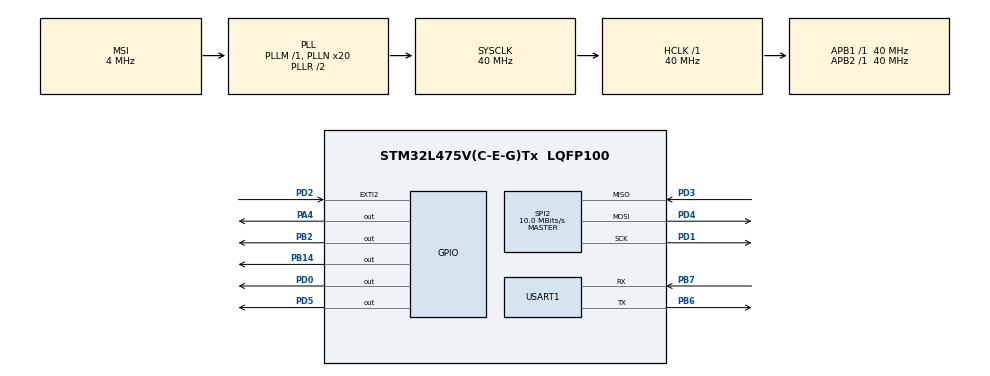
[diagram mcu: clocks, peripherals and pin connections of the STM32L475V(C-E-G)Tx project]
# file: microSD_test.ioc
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FATFS._MAX_SS=4096
Mcu.Family=STM32L4
Mcu.Name=STM32L475V(C-E-G)Tx
Mcu.Package=LQFP100
NVIC.PriorityGroup=NVIC_PRIORITYGROUP_4
NVIC.TIM3_IRQn=true\:0\:0\:false\:false\:true\:true\:true
PA13\ (JTMS-SWDIO).Mode=Serial_Wire
PA13\ (JTMS-SWDIO).Signal=SYS_JTMS-SWDIO
PA14\ (JTCK-SWCLK).Mode=Serial_Wire
PA14\ (JTCK-SWCLK).Signal=SYS_JTCK-SWCLK
PA4.Signal=GPIO_Output
PB14.Signal=GPIO_Output
PB2.Signal=GPIO_Output
PB6.Mode=Asynchronous
PB6.Signal=USART1_TX
PB7.Mode=Asynchronous
PB7.Signal=USART1_RX
PC14-OSC32_IN\ (PC14).Mode=LSE-External-Oscillator
PC14-OSC32_IN\ (PC14).Signal=RCC_OSC32_IN
PC15-OSC32_OUT\ (PC15).Mode=LSE-External-Oscillator
PC15-OSC32_OUT\ (PC15).Signal=RCC_OSC32_OUT
PD0.Signal=GPIO_Output
PD1.Mode=Full_Duplex_Master
PD1.Signal=SPI2_SCK
PD2.Signal=GPXTI2
PD3.Mode=Full_Duplex_Master
PD3.Signal=SPI2_MISO
PD4.Mode=Full_Duplex_Master
PD4.Signal=SPI2_MOSI
PD5.Signal=GPIO_Output
PH0-OSC_IN\ (PH0).Mode=HSE-External-Oscillator
PH0-OSC_IN\ (PH0).Signal=RCC_OSC_IN
PH1-OSC_OUT\ (PH1).Mode=HSE-External-Oscillator
PH1-OSC_OUT\ (PH1).Signal=RCC_OSC_OUT
ProjectManager.HeapSize=0x200
ProjectManager.StackSize=0x400
ProjectManager.TargetToolchain=MDK-ARM V5.32
RCC.AHBFreq_Value=40000000
RCC.APB1Freq_Value=40000000
RCC.APB1TimFreq_Value=40000000
RCC.APB2Freq_Value=40000000
RCC.APB2TimFreq_Value=40000000
RCC.CortexFreq_Value=40000000
RCC.HCLKFreq_Value=40000000
RCC.HSE_VALUE=8000000
RCC.HSI_VALUE=16000000
RCC.MSI_VALUE=4000000
RCC.PLLN=20
RCC.SYSCLKFreq_VALUE=40000000
RCC.SYSCLKSource=RCC_SYSCLKSOURCE_PLLCLK
RCC.VCOOutputFreq_Value=80000000
SPI2.BaudRatePrescaler=SPI_BAUDRATEPRESCALER_4
SPI2.CalculateBaudRate=10.0 MBits/s
SPI2.DataSize=SPI_DATASIZE_8BIT
SPI2.Direction=SPI_DIRECTION_2LINES
SPI2.Mode=SPI_MODE_MASTER
SPI2.VirtualType=VM_MASTER
TIM3.Period=999
TIM3.Prescaler=19
USART1.VirtualMode-Asynchronous=VM_ASYNC
VP_FATFS_VS_Generic.Mode=User_defined
VP_RTC_VS_RTC_Activate.Mode=RTC_Enabled
VP_RTC_VS_RTC_Calendar.Mode=RTC_Calendar
VP_TIM3_VS_ClockSourceINT.Mode=Internal
board=custom

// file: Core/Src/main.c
/* USER CODE BEGIN Header */
/**
  ******************************************************************************
  * @file           : main.c
  * @brief          : Main program body
  ******************************************************************************
  * @attention
  *
  * Copyright (c) 2022 STMicroelectronics.
  * All rights reserved.
  *
  * This software is licensed under terms that can be found in the LICENSE file
  * in the root directory of this software component.
  * If no LICENSE file comes with this software, it is provided AS-IS.
  *
  ******************************************************************************
  */
/* USER CODE END Header */
#include "main.h"
#include "fatfs.h"
#include "rtc.h"
#include "spi.h"
#include "tim.h"
#include "usart.h"
#include "gpio.h"

/* USER CODE BEGIN Includes */
#include "string.h"
#include "ff_gen_drv.h"
#include "fatfs_sd.h"
/* USER CODE END Includes */

void SystemClock_Config(void);

/* USER CODE BEGIN 0 */
FATFS fs;         //���t��
FIL fil; 					//���
FILINFO fno;  		//�w��
FRESULT fres;  //���G
UINT br, bw;

FATFS *pfs;
DWORD fre_clust;
uint32_t total, free_space;

#define BUFFER_SIZE 128
char buffer[BUFFER_SIZE];
int i=0;

/* uart api */
void send_uart (char *string)
{
	uint8_t len = strlen (string);
	HAL_UART_Transmit(&huart1, (uint8_t *) string, len, HAL_MAX_DELAY);  // transmit in blocking mode
}

/* dump error message of microSD */
static void printf_fatfs_error(FRESULT fresult)
{
  switch(fres) {
		case FR_OK:
			send_uart("Success");
		case FR_DISK_ERR:
			send_uart("A hard error occurred in the low level disk I/O layer");
			break;
		case FR_INT_ERR:
			send_uart("Assertion failed");
			break;
		case FR_NOT_READY:
			send_uart("The physical drive cannot work");
			break;
		case FR_NO_FILE:
			send_uart("Could not find the file");
			break;
		case FR_NO_PATH:
			send_uart("Could not find the path");
			break;
		case FR_INVALID_NAME:
			send_uart("The path name format is invalid");
			break;
		case FR_DENIED:
			send_uart("Access denied due to prohibited access or directory full");
			break;
		case FR_EXIST:
			send_uart("Access denied due to prohibited access");
			break;
		case FR_INVALID_OBJECT:
			send_uart("The file/directory object is invalid");
			break;
		case FR_WRITE_PROTECTED:
			send_uart("The physical drive is write protected");
			break;
		case FR_INVALID_DRIVE:
			send_uart("The logical drive number is invalid");
			break;
		case FR_NOT_ENABLED:
			send_uart("The volume has no work area");
			break;
		case FR_NO_FILESYSTEM:
			send_uart("There is no valid FAT volume");
			break;
		case FR_MKFS_ABORTED:
			send_uart("The f_mkfs() aborted due to any problem");
			break;
		case FR_TIMEOUT:
			send_uart("Could not get a grant to access the volume within defined period");
			break;
		case FR_LOCKED:
			send_uart("The operation is rejected according to the file sharing policy");
			break;
		case FR_NOT_ENOUGH_CORE:
			send_uart("LFN working buffer could not be allocated");
			break;
		case FR_TOO_MANY_OPEN_FILES:
			send_uart("Number of open files > _FS_LOCK");
			break;
		case FR_INVALID_PARAMETER:
			send_uart("Given parameter is invalid");
			break;
	}
}

/* USER CODE END 0 */

int main(void)
{

  /* MCU Configuration--------------------------------------------------------*/

  /* Reset of all peripherals, Initializes the Flash interface and the Systick. */
  HAL_Init();

  /* Configure the system clock */
  SystemClock_Config();

  /* Initialize all configured peripherals */
  MX_GPIO_Init();
  MX_RTC_Init();
  MX_SPI2_Init();
  MX_TIM3_Init();
  MX_USART1_UART_Init();
  MX_FATFS_Init();
  /* USER CODE BEGIN 2 */
	fres = f_mount(&fs, "/", 1); // mount file system
	if(fres != FR_OK) {
		send_uart("ERROR!!! in mounting SD CARD...\r\n");
		printf_fatfs_error(fres);
	}
	else {
		send_uart("SD CARD mounted successfully...\r\n");
	}

	/* open file (if not exist, create it) */
	// f_puts("This data is from the file1.txt. And it was written using ...f_puts... ", &fil);
	fres = f_open(&fil, "file1.txt", FA_CREATE_ALWAYS | FA_READ | FA_WRITE);
	char myData[] = "My first FATFS task !";
	fres = f_write(&fil, myData, sizeof(myData), &bw);
	if (fres != FR_OK)
		printf_fatfs_error(fres);
	else
		send_uart("file1.txt is created and the data is written \r\n");
	fres = f_close(&fil);

  /* USER CODE END 2 */

  /* Infinite loop */
  while (1)
  {

  }
}

void SystemClock_Config(void)
{
  RCC_OscInitTypeDef RCC_OscInitStruct = {0};
  RCC_ClkInitTypeDef RCC_ClkInitStruct = {0};

  /** Configure the main internal regulator output voltage
  */
  if (HAL_PWREx_ControlVoltageScaling(PWR_REGULATOR_VOLTAGE_SCALE1) != HAL_OK)
  {
    Error_Handler();
  }
  /** Configure LSE Drive Capability
  */
  HAL_PWR_EnableBkUpAccess();
  __HAL_RCC_LSEDRIVE_CONFIG(RCC_LSEDRIVE_LOW);
  /** Initializes the RCC Oscillators according to the specified parameters
  * in the RCC_OscInitTypeDef structure.
  */
  RCC_OscInitStruct.OscillatorType = RCC_OSCILLATORTYPE_LSI|RCC_OSCILLATORTYPE_LSE
                              |RCC_OSCILLATORTYPE_MSI;
  RCC_OscInitStruct.LSEState = RCC_LSE_ON;
  RCC_OscInitStruct.LSIState = RCC_LSI_ON;
  RCC_OscInitStruct.MSIState = RCC_MSI_ON;
  RCC_OscInitStruct.MSICalibrationValue = 0;
  RCC_OscInitStruct.MSIClockRange = RCC_MSIRANGE_6;
  RCC_OscInitStruct.PLL.PLLState = RCC_PLL_ON;
  RCC_OscInitStruct.PLL.PLLSource = RCC_PLLSOURCE_MSI;
  RCC_OscInitStruct.PLL.PLLM = 1;
  RCC_OscInitStruct.PLL.PLLN = 20;
  RCC_OscInitStruct.PLL.PLLP = RCC_PLLP_DIV7;
  RCC_OscInitStruct.PLL.PLLQ = RCC_PLLQ_DIV2;
  RCC_OscInitStruct.PLL.PLLR = RCC_PLLR_DIV2;
  if (HAL_RCC_OscConfig(&RCC_OscInitStruct) != HAL_OK)
  {
    Error_Handler();
  }
  /** Initializes the CPU, AHB and APB buses clocks
  */
  RCC_ClkInitStruct.ClockType = RCC_CLOCKTYPE_HCLK|RCC_CLOCKTYPE_SYSCLK
                              |RCC_CLOCKTYPE_PCLK1|RCC_CLOCKTYPE_PCLK2;
  RCC_ClkInitStruct.SYSCLKSource = RCC_SYSCLKSOURCE_PLLCLK;
  RCC_ClkInitStruct.AHBCLKDivider = RCC_SYSCLK_DIV1;
  RCC_ClkInitStruct.APB1CLKDivider = RCC_HCLK_DIV1;
  RCC_ClkInitStruct.APB2CLKDivider = RCC_HCLK_DIV1;

  if (HAL_RCC_ClockConfig(&RCC_ClkInitStruct, FLASH_LATENCY_2) != HAL_OK)
  {
    Error_Handler();
  }
  /** Enable MSI Auto calibration
  */
  HAL_RCCEx_EnableMSIPLLMode();
}

void Error_Handler(void)
{
  __disable_irq();
  while (1)
  {
  }
}
